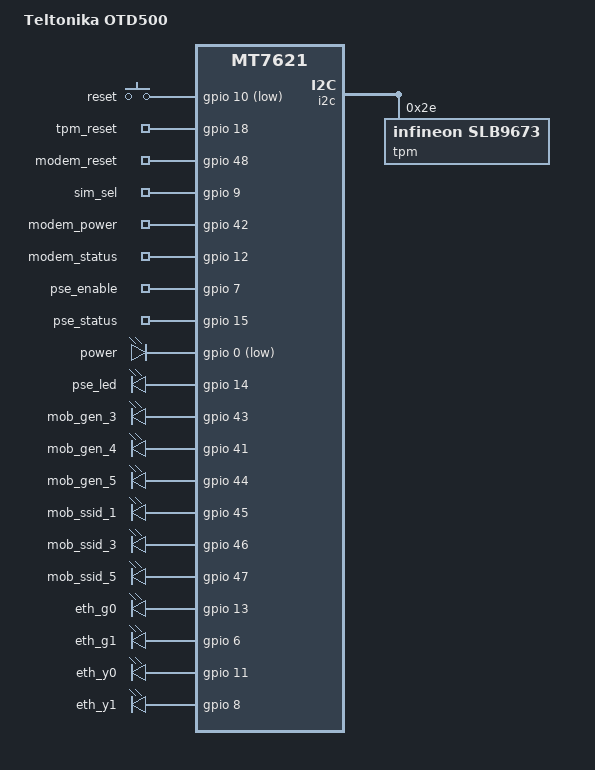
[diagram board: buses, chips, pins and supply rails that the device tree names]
#include "mt7621-teltonika-otd5-flash.dtsi"

/ {
	compatible = "teltonika,otd500", "mediatek,mt7621-soc";
	model = "Teltonika OTD500";

	keys {
		compatible = "gpio-keys";

		reset {
			label = "reset";
			gpios = <&gpio 10 GPIO_ACTIVE_LOW>;
			linux,code = <KEY_RESTART>;
		};
	};

	gpio-export {
		compatible = "gpio-export";
		#size-cells = <0>;

		gpio_tpm_reset {
			gpio-export,name = "tpm_reset";
			gpio-export,output = <1>;
			gpios = <&gpio 18 GPIO_ACTIVE_HIGH>;
		};

		gpio_modem_reset {
			gpio-export,name = "modem_reset";
			gpio-export,output = <0>;
			gpios = <&gpio 48 GPIO_ACTIVE_HIGH>;
		};

		gpio_sim_select {
			gpio-export,name = "sim_sel";
			gpio-export,output = <0>;
			gpios = <&gpio 9 GPIO_ACTIVE_HIGH>;
		};

		gpio_modem_power {
			gpio-export,name = "modem_power";
			gpio-export,output = <1>; // tmp
			gpios = <&gpio 42 GPIO_ACTIVE_HIGH>;
		};

		gpio_modem_status {
			gpio-export,name = "modem_status";
			gpio-export,input = <0>;
			gpios = <&gpio 12 GPIO_ACTIVE_HIGH>;
		};

		pse_enable {
			gpio-export,name = "pse_enable";
			gpio-export,output = <1>;
			gpios = <&gpio 7 GPIO_ACTIVE_HIGH>;
		};

		pse_status {
			gpio-export,name = "pse_status";
			gpio-export,input = <0>;
			gpios = <&gpio 15 GPIO_ACTIVE_HIGH>;
		};
	};

	leds {
		compatible = "gpio-leds";

		led_power {
			label = "power";
			gpios = <&gpio 0 GPIO_ACTIVE_LOW>;
			default-state = "on";
			retain-state-shutdown;
		};

		pse_led {
			label = "pse_led";
			gpios = <&gpio 14 GPIO_ACTIVE_HIGH>;
		};

		led_gen_3 {
			label = "mob_gen_3";
			gpios = <&gpio 43 GPIO_ACTIVE_HIGH>;
		};

		led_gen_4 {
			label = "mob_gen_4";
			gpios = <&gpio 41 GPIO_ACTIVE_HIGH>;
		};

		led_gen_5 {
			label = "mob_gen_5";
			gpios = <&gpio 44 GPIO_ACTIVE_HIGH>;
		};

		led_ssid_1 {
			label = "mob_ssid_1";
			gpios = <&gpio 45 GPIO_ACTIVE_HIGH>;
			linux,default-trigger = "timer"; // only
		};

		led_ssid_3 {
			label = "mob_ssid_3";
			gpios = <&gpio 46 GPIO_ACTIVE_HIGH>;
			linux,default-trigger = "timer"; // only
		};

		led_ssid_5 {
			label = "mob_ssid_5";
			gpios = <&gpio 47 GPIO_ACTIVE_HIGH>;
			linux,default-trigger = "timer"; // only
		};

		led_eth_g0 {
			label = "eth_g0";
			gpios = <&gpio 13 GPIO_ACTIVE_HIGH>;
		};

		led_eth_g1 {
			label = "eth_g1";
			gpios = <&gpio 6 GPIO_ACTIVE_HIGH>;
		};

		led_eth_y0 {
			label = "eth_y0";
			gpios = <&gpio 11 GPIO_ACTIVE_HIGH>;
		};

		led_eth_y1 {
			label = "eth_y1";
			gpios = <&gpio 8 GPIO_ACTIVE_HIGH>;
		};
	};

	tlt_gpios { // Modify according to wiki page "DTS syntax with Libgpiod changes"
		gpiochip_info {
			hw_0 {
				hwver = <0>;
				gpiochip_count = <4>;

				gpiochip_0 = <32>; // Built-in
				gpiochip_1 = <32>; // Built-in
				gpiochip_2 = <32>; // Built-in
			};
		};

		poeman {
			GPIO_7 {
				line_name = "PSE_ENABLE";
			};
			GPIO_15 {
				line_name = "PSE_STATUS";
			};
		};

		misc {
			GPIO_18 {
				line_name = "GPIO_TPM_RESET";
			};
			GPIO_48 {
				line_name = "GPIO_MODEM_RESET_1";
			};
			GPIO_42 {
				line_name = "GPIO_MODEM_POWER_1";
			};
			GPIO_12 {
				line_name = "GPIO_MODEM_STATUS";
			};
			GPIO_9 {
				line_name = "GPIO_SIM_SELECT";
			};
		};
	};

	poeman {
		bus = "/dev/i2c-0";
		budget@0 {
			budget = <15500>;
			max_port_power = <15400>;
			allowed_deficit = <600>;
		};
	};
};

&state_default {
	gpio {
		groups = "wdt", "jtag", "sdhci", "uart2", "uart3";
		function = "gpio";
	};
};

&switch0 {
	ports {
		port@3 {
			status = "okay";
			label = "lan2";
		};

		port@4 {
			status = "okay";
			label = "lan1";
		};
	};
};

&i2c {
	status = "okay";

	tpm@2e {
		compatible = "infineon,slb9673";
		reg = <0x2e>;
		status = "okay";
	};
};

&mnfinfo {
	sim_cfg {
		default = "1111100_1112000_1121200";
	};
};
